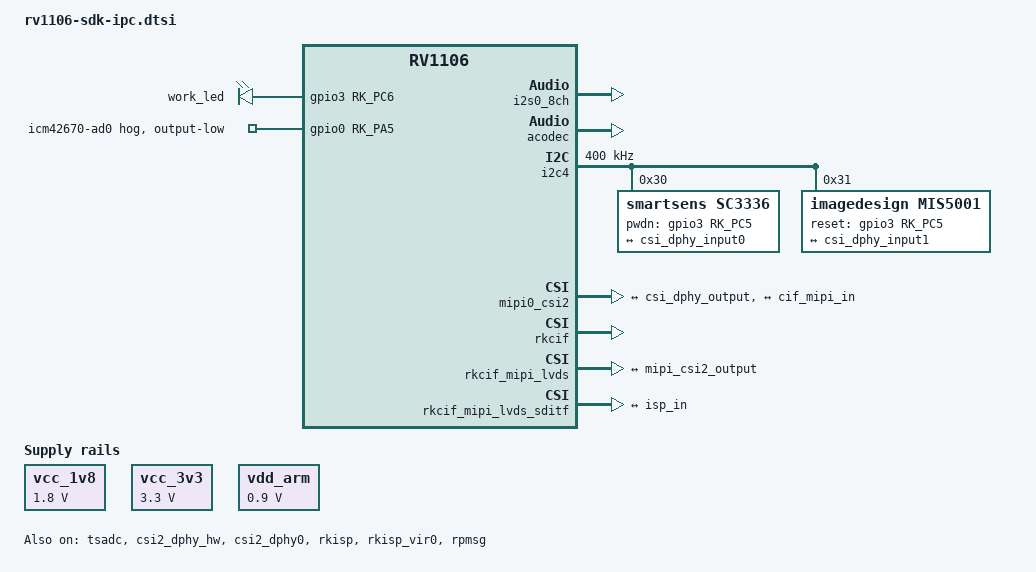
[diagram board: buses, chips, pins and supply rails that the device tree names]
// SPDX-License-Identifier: (GPL-2.0+ OR MIT)
/*
 * Copyright (c) 2022 Rockchip Electronics Co., Ltd.
 */
#include "rv1106-amp.dtsi"

/ {
	chosen {
		bootargs = "earlycon=uart8250,mmio32,0xff4c0000 console=ttyFIQ0 root=/dev/mmcblk1p7 rootwait snd_soc_core.prealloc_buffer_size_kbytes=16 coherent_pool=0";
	};

	acodec_sound: acodec-sound {
		compatible = "simple-audio-card";
		simple-audio-card,name = "rv-acodec";
		simple-audio-card,format = "i2s";
		simple-audio-card,mclk-fs = <256>;
		simple-audio-card,cpu {
			sound-dai = <&i2s0_8ch>;
		};
		simple-audio-card,codec {
			sound-dai = <&acodec>;
		};
	};

	vcc_1v8: vcc-1v8 {
		compatible = "regulator-fixed";
		regulator-name = "vcc_1v8";
		regulator-always-on;
		regulator-boot-on;
		regulator-min-microvolt = <1800000>;
		regulator-max-microvolt = <1800000>;
	};

	vcc_3v3: vcc-3v3 {
		compatible = "regulator-fixed";
		regulator-name = "vcc_3v3";
		regulator-always-on;
		regulator-boot-on;
		regulator-min-microvolt = <3300000>;
		regulator-max-microvolt = <3300000>;
	};

	vdd_arm: vdd-arm {
		compatible = "regulator-fixed";
		regulator-name = "vdd_arm";
		regulator-min-microvolt = <900000>;
		regulator-max-microvolt = <900000>;
		regulator-always-on;
		regulator-boot-on;
	};
	leds: leds {
		compatible = "gpio-leds";
		work_led: work{
			gpios = <&gpio3 RK_PC6 GPIO_ACTIVE_HIGH>;
			linux,default-trigger = "activity";
			default-state = "on";
		};	
	};

};

/***************************** AUDIO ********************************/
&i2s0_8ch {
	#sound-dai-cells = <0>;
	status = "okay";
};

&acodec {
	#sound-dai-cells = <0>;
	pa-ctl-gpios = <&gpio1 RK_PA1 GPIO_ACTIVE_HIGH>;
	status = "okay";
};
/***************************** CPU ********************************/
&cpu0 {
	cpu-supply = <&vdd_arm>;
};

/***************************** ADC ********************************/
/* SARADC (SoC successive-approximation ADC) unused — disabled so it does not
 * register an IIO device (otherwise it takes iio:device0 before the BME280). */
&saradc {
	status = "disabled";
	vref-supply = <&vcc_1v8>;
};

&tsadc {
	status = "okay";
};

/***************************** CSI ********************************/
&csi2_dphy_hw {
	status = "okay";
};

&csi2_dphy0 {
	status = "okay";

	ports {
		#address-cells = <1>;
		#size-cells = <0>;

		port@0 {
			reg = <0>;
			#address-cells = <1>;
			#size-cells = <0>;

			csi_dphy_input0: endpoint@0 {
				reg = <0>;
				remote-endpoint = <&sc3336_out>;
				data-lanes = <1 2>;
			};

			csi_dphy_input1: endpoint@1 {
				reg = <1>;
				remote-endpoint = <&mis5001_out>;
				data-lanes = <1 2>;
			};
		};

		port@1 {
			reg = <1>;
			#address-cells = <1>;
			#size-cells = <0>;

			csi_dphy_output: endpoint@0 {
				reg = <0>;
				remote-endpoint = <&mipi_csi2_input>;
			};
		};
	};
};

&i2c4 {
	status = "okay";
	clock-frequency = <400000>;

	sc3336: sc3336@30 {
		compatible = "smartsens,sc3336";
		status = "okay";
		reg = <0x30>;
		clocks = <&cru MCLK_REF_MIPI0>;
		clock-names = "xvclk";
		pwdn-gpios = <&gpio3 RK_PC5 GPIO_ACTIVE_HIGH>;
		pinctrl-names = "default";
		pinctrl-0 = <&mipi_refclk_out0>;
		rockchip,camera-module-index = <0>;
		rockchip,camera-module-facing = "back";
		rockchip,camera-module-name = "CMK-OT2119-PC1";
		rockchip,camera-module-lens-name = "30IRC-F16";
		port {
			sc3336_out: endpoint {
				remote-endpoint = <&csi_dphy_input0>;
				data-lanes = <1 2>;
			};
		};
	};

	mis5001: mis5001@31 {
		compatible = "imagedesign,mis5001";
		status = "okay";
		reg = <0x31>;
		clocks = <&cru MCLK_REF_MIPI0>;
		clock-names = "xvclk";
		reset-gpios = <&gpio3 RK_PC5 GPIO_ACTIVE_HIGH>;
		pinctrl-names = "default";
		pinctrl-0 = <&mipi_refclk_out0>;
		rockchip,camera-module-index = <0>;
		rockchip,camera-module-facing = "back";
		rockchip,camera-module-name = "CMK-OT2115-PC1";
		rockchip,camera-module-lens-name = "30IRC-F16";
		port {
			mis5001_out: endpoint {
				remote-endpoint = <&csi_dphy_input1>;
				data-lanes = <1 2>;
			};
		};
	};
};

&mipi0_csi2 {
	status = "okay";

	ports {
		#address-cells = <1>;
		#size-cells = <0>;

		port@0 {
			reg = <0>;
			#address-cells = <1>;
			#size-cells = <0>;

			mipi_csi2_input: endpoint@1 {
				reg = <1>;
				remote-endpoint = <&csi_dphy_output>;
			};
		};

		port@1 {
			reg = <1>;
			#address-cells = <1>;
			#size-cells = <0>;

			mipi_csi2_output: endpoint@0 {
				reg = <0>;
				remote-endpoint = <&cif_mipi_in>;
			};
		};
	};
};

&rkcif {
	status = "okay";
};

&rkcif_mipi_lvds {
	status = "okay";

	pinctrl-names = "default";
	pinctrl-0 = <&mipi_pins>;
	port {
		/* MIPI CSI-2 endpoint */
		cif_mipi_in: endpoint {
			remote-endpoint = <&mipi_csi2_output>;
		};
	};
};

&rkcif_mipi_lvds_sditf {
	status = "okay";

	port {
		/* MIPI CSI-2 endpoint */
		mipi_lvds_sditf: endpoint {
			remote-endpoint = <&isp_in>;
		};
	};
};

&rkisp {
	status = "okay";
};

&rkisp_vir0 {
	status = "okay";

	port@0 {
		isp_in: endpoint {
			remote-endpoint = <&mipi_lvds_sditf>;
		};
	};
};


/*****************************PINCTRL********************************/
// SPI
&spi0 {
	pinctrl-0 = <&spi0m0_clk &spi0m0_miso &spi0m0_mosi &spi0m0_cs0>;
	#address-cells = <1>;
	#size-cells = <0>;
	/* CubeSat migración: SPI0 + SX1262 los posee ahora el MCU (RadioService
	 * por rpmsg, applications/radio_service.c). Linux no toca este bus. */
	status = "disabled";
	sx1262@0 {
		compatible = "semtech,sx1262";
		reg = <0>;
		spi-max-frequency = <8000000>;
		pinctrl-names = "default";
		pinctrl-0 = <&sx1262_dev0_pins>;
		reset-gpios = <&gpio3 RK_PA6 GPIO_ACTIVE_LOW>;
		busy-gpios = <&gpio3 RK_PA7 GPIO_ACTIVE_HIGH>;
		dio1-gpios = <&gpio3 RK_PA3 GPIO_ACTIVE_HIGH>;
		ant-sw0-gpios = <&gpio0 RK_PA3 GPIO_ACTIVE_HIGH>;
		ant-sw1-gpios = <&gpio0 RK_PA4 GPIO_ACTIVE_HIGH>;
	};
};

&spi1 {
	pinctrl-0 = <&spi1m0_pins &spi1m0_cs0>;
	#address-cells = <1>;
	#size-cells = <0>;
	/* CubeSat migración: SPI1 cedido al MCU (radio 1, paso posterior). */
	status = "disabled";
	sx1262@0 {
		compatible = "semtech,sx1262";
		reg = <0>;
		spi-max-frequency = <8000000>;
		pinctrl-names = "default";
		pinctrl-0 = <&sx1262_dev1_pins>;
		reset-gpios = <&gpio1 RK_PC6 GPIO_ACTIVE_LOW>;
		busy-gpios = <&gpio1 RK_PC7 GPIO_ACTIVE_HIGH>;
		dio1-gpios = <&gpio1 RK_PD1 GPIO_ACTIVE_HIGH>;
		ant-sw0-gpios = <&gpio1 RK_PC5 GPIO_ACTIVE_HIGH>;
		ant-sw1-gpios = <&gpio1 RK_PD0 GPIO_ACTIVE_HIGH>;
	};
};

/*
 * Peripherals whose (board-routed) pins are reused by the two SX1262 radios.
 * Their pinctrl-0 mux groups (set above) drive pins the radios occupy:
 *   uart3(m1) PD1/PD0, uart4(m1) PC5, uart5(m0) PA7/PA6,
 *   pwm2/4/5/6(m2) PC0/PC1/PC2/PC3 (SPI0), pwm3(m2) PD0,
 *   pwm9(m1) PC5, pwm10(m1) PC6/PD1, pwm11(m1) PC7.
 */
&uart3 { status = "disabled"; };
&uart4 { status = "disabled"; };
&uart5 { status = "disabled"; };
&pwm2  { status = "disabled"; };
&pwm3  { status = "disabled"; };
&pwm4  { status = "disabled"; };
&pwm5  { status = "disabled"; };
&pwm6  { status = "disabled"; };
&pwm9  { status = "disabled"; };
&pwm10 { status = "disabled"; };
&pwm11 { status = "disabled"; };

// I2C
/*
 * I2C0 is CEDED TO THE RISC-V MCU (SensorService — docs/migration/implementation/90-mcu-config-replication.md).
 * The MCU owns BME280 (@0x76) and ICM-42670 (@0x68) over I2C0 and exposes them
 * to Linux via rpmsg ("rpmsg-sensor", /dev/rpmsg1, client sensor_test), exactly
 * as the SX1262 radios were ceded on SPI0/SPI1. Disabling the Linux controller
 * frees the i2c0m0 pins (SCL=GPIO1_A3, SDA=GPIO1_A4) and the bus for the MCU;
 * the in-tree bmp280 and the icm42670.ko no longer probe (expected).
 * The child nodes are kept below only as wiring documentation (parent disabled).
 * The &gpio0 AD0 hog is retained so ICM-42670 stays at address 0x68.
 */
&i2c0 {
	status = "disabled";
	pinctrl-names = "default";
	pinctrl-0 = <&i2c0m0_xfer>;
	clock-frequency = <400000>;

	bme280: bme280@76 {
		compatible = "bosch,bme280";
		reg = <0x76>;
	};

	/*
	 * ICM-42670-P 6-axis IMU, same I2C0 bus (AP_SCKL=GPIO1_A3,
	 * AP_SDI=GPIO1_A4). AP_AD0=GPIO0_A5 is forced low by a gpio-hog
	 * (see &gpio0 below) so the address is 0x68. INT1=GPIO0_A1 is wired
	 * as the data-ready interrupt; INT2=GPIO0_A0 and FSYNC=GPIO0_A2 are
	 * routed for future use.
	 */
	icm42670: icm42670@68 {
		compatible = "invensense,icm42670p";
		reg = <0x68>;
		pinctrl-names = "default";
		pinctrl-0 = <&icm42670_pins>;
		interrupt-parent = <&gpio0>;
		interrupts = <RK_PA1 IRQ_TYPE_LEVEL_HIGH>;
	};
};

/* Force ICM-42670-P AP_AD0 (GPIO0_A5) low -> I2C address 0x68. */
&gpio0 {
	icm42670_ad0_hog: icm42670-ad0-hog {
		gpio-hog;
		gpios = <RK_PA5 GPIO_ACTIVE_HIGH>;
		output-low;
		line-name = "icm42670-ad0";
	};
};

&i2c1 {
	pinctrl-0 = <&i2c1m1_xfer>;
};

&i2c3 {
	pinctrl-0 = <&i2c3m1_xfer &i2c3m0_xfer>;
};

&i2c4 {
	pinctrl-names = "default", "conifg";
	pinctrl-0 = <&i2c4m2_xfer>;
	pinctrl-1 = <&i2c4m0_xfer>;
};

// UART
&uart0 {
	pinctrl-0 = <&uart0m0_xfer &uart0m1_xfer>;
};
&uart1 {
	pinctrl-0 = <&uart1m1_xfer>;
};
&uart3 {
	pinctrl-0 = <&uart3m1_xfer>;
};
&uart4 {
	pinctrl-0 = <&uart4m1_xfer>;
};
&uart5 {
	pinctrl-0 = <&uart5m0_xfer>;
};

// PWM
&pwm0 {
	pinctrl-0 = <&pwm0m1_pins>;
};
&pwm2 {
	pinctrl-0 = <&pwm2m2_pins>;
};
&pwm3 {
	pinctrl-0 = <&pwm3m2_pins>;
};
&pwm4 {
	pinctrl-0 = <&pwm4m2_pins>;
};
&pwm5 {
	pinctrl-0 = <&pwm5m1_pins &pwm5m2_pins>;
};
&pwm6 {
	pinctrl-0 = <&pwm6m1_pins &pwm6m2_pins>;
};
&pwm8 {
	pinctrl-0 = <&pwm8m1_pins>;
};
&pwm9 {
	pinctrl-0 = <&pwm9m1_pins>;
};
&pwm10 {
	pinctrl-0 = <&pwm10m1_pins &pwm10m2_pins>;
};
&pwm11 {
	pinctrl-0 = <&pwm11m1_pins &pwm11m2_pins>;
};

&pinctrl {
	spi0 {
		spi0m0_clk: spi0m0-clk {
			rockchip,pins = <1 RK_PC1 4 &pcfg_pull_none>;
		};
		spi0m0_mosi: spi0m0-mosi {
			rockchip,pins = <1 RK_PC2 6 &pcfg_pull_none>;
		};
		spi0m0_miso: spi0m0-miso {
			rockchip,pins = <1 RK_PC3 6 &pcfg_pull_none>;
		};
		spi0m0_cs0: spi0m0-cs0 {
			rockchip,pins = <1 RK_PC0 4 &pcfg_pull_none>;
		};
	};

	sx1262 {
		sx1262_dev0_pins: sx1262-dev0-pins {
			rockchip,pins =
				<3 RK_PA6 RK_FUNC_GPIO &pcfg_pull_up>,
				<3 RK_PA7 RK_FUNC_GPIO &pcfg_pull_up>,
				<3 RK_PA3 RK_FUNC_GPIO &pcfg_pull_none>,
				<0 RK_PA3 RK_FUNC_GPIO &pcfg_pull_none>,
				<0 RK_PA4 RK_FUNC_GPIO &pcfg_pull_none>;
		};
		sx1262_dev1_pins: sx1262-dev1-pins {
			rockchip,pins =
				<1 RK_PC6 RK_FUNC_GPIO &pcfg_pull_up>,
				<1 RK_PC7 RK_FUNC_GPIO &pcfg_pull_up>,
				<1 RK_PD1 RK_FUNC_GPIO &pcfg_pull_none>,
				<1 RK_PC5 RK_FUNC_GPIO &pcfg_pull_none>,
				<1 RK_PD0 RK_FUNC_GPIO &pcfg_pull_none>;
		};
	};

	icm42670 {
		/* INT1, INT2, FSYNC and AP_AD0 as GPIO (i2c SCL/SDA via i2c0m0). */
		icm42670_pins: icm42670-pins {
			rockchip,pins =
				<0 RK_PA1 RK_FUNC_GPIO &pcfg_pull_none>,
				<0 RK_PA0 RK_FUNC_GPIO &pcfg_pull_none>,
				<0 RK_PA2 RK_FUNC_GPIO &pcfg_pull_none>,
				<0 RK_PA5 RK_FUNC_GPIO &pcfg_pull_none>;
		};
	};
};


/*
 * ----------------------------------------------------------------------------
 * CubeSat Paso 0 — A7 <-> RISC-V (HPMCU) RPMsg transport.
 * Mirrors rk3562-amp.dtsi (arm32 single-cell). The vring "reg" base and the
 * reserved-memory base MUST match the MCU firmware linker symbol
 * __linux_share_rpmsg_start__ (= 0x0ff00000) and rockchip,link-id must match
 * RL_PLATFORM_SET_LINK_ID(0,4)=0x04 used by the firmware.
 * See docs/migration/implementation/60-ipc-bringup.md.
 * ----------------------------------------------------------------------------
 */
&mailbox {
	status = "okay";
};

/ {
	rpmsg: rpmsg@ff00000 {
		compatible = "rockchip,rv1106-rpmsg";
		mbox-names = "rpmsg-rx", "rpmsg-tx";
		mboxes = <&mailbox 0 &mailbox 3>;
		rockchip,vdev-nums = <1>;
		rockchip,link-id = <0x04>;
		reg = <0x0ff00000 0x20000>;
		memory-region = <&rpmsg_dma_reserved>;
		status = "okay";
	};

	reserved-memory {
		#address-cells = <1>;
		#size-cells = <1>;
		ranges;

		/* RISC-V MCU firmware (rtthread.bin) EXECUTES from 0x40000 (bootrom Hpmcu
		 * LOAD_ADDR=0x40000). This region (0x40000..0x7c000, matching the MCU
		 * link.lds ORIGIN/LENGTH) MUST be carved out of Linux RAM, or the kernel
		 * overwrites the MCU's code/stack ~400ms into boot and the SCR1 crashes
		 * (stack pointer trashed). Mirrors Luckfox rv1106-thunder-boot.dtsi
		 * rtos@40000 + ramoops@7c000.
		 *
		 * Deliberately NO no-map here (Luckfox style): a plain reservation
		 * keeps Linux from touching it. With no-map they punch a NOMAP
		 * hole at 0x40000, the first usable block then ends at 0x40000
		 * (not PMD/2MB aligned), adjust_lowmem_bounds() computes
		 * memblock_limit=0x40000, rounds it down to 0, and the no-HIGHMEM
		 * "Ignoring RAM" branch memblock_remove()s ALL of DRAM ->
		 * early_alloc panic in paging_init. */
		rtos: rtos@40000 {
			reg = <0x40000 0x3c000>;
		};

		ramoops@7c000 {
			reg = <0x7c000 0x3000>;
		};

		/* Legacy trampoline DDR-copy region (no longer used; kept reserved). */
		mcu_reserved: mcu@fe00000 {
			reg = <0x0fe00000 0x100000>;
			no-map;
		};

		rpmsg_reserved: rpmsg@ff00000 {
			reg = <0x0ff00000 0x80000>;
			no-map;
		};

		rpmsg_dma_reserved: rpmsg-dma@ff80000 {
			compatible = "shared-dma-pool";
			reg = <0x0ff80000 0x80000>;
			no-map;
		};
	};
};
